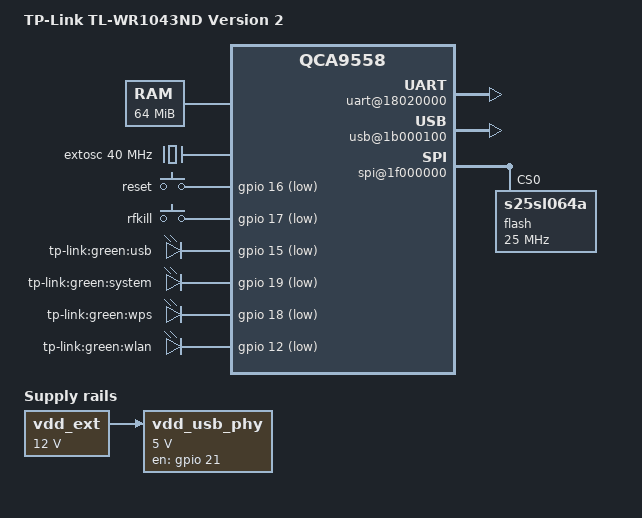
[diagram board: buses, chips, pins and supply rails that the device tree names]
/dts-v1/;

#include <dt-bindings/gpio/gpio.h>
#include <dt-bindings/input/input.h>

#include "qca9558.dtsi"

/ {
	compatible = "tplink,tl-wr1043nd-v2", "qca,qca9558";
	model = "TP-Link TL-WR1043ND Version 2";

	memory@0 {
		device_type = "memory";
		reg = <0x0 0x4000000>;
	};

	extosc: oscillator {
		compatible = "fixed-clock";
		#clock-cells = <0>;
		clock-frequency = <40000000>;
	};

	ahb {
		apb {
			uart@18020000 {
				status = "okay";
				clocks = <&extosc>;
			};

			pll-controller@18050000 {
				clocks = <&extosc>;
			};
		};

		usb@1b000100 {
			status = "okay";
		};

		spi@1f000000 {
			status = "okay";
			num-cs = <1>;

			flash@0 {
				#address-cells = <1>;
				#size-cells = <1>;

				compatible = "s25sl064a";
				reg = <0>;
				spi-max-frequency = <25000000>;
			};
		};
	};

	usb-phy-0 {
		status = "okay";
		phy-supply = <&vdd_usb_phy>;
	};

	gpio-keys {
		compatible = "gpio-keys";
		#address-cells = <1>;
		#size-cells = <0>;

		button@0 {
			label = "reset";
			linux,code = <KEY_RESTART>;
			gpios = <&gpio 16 GPIO_ACTIVE_LOW>;
			debounce-interval = <60>;
		};

		button@1 {
			label = "rfkill";
			linux,code = <KEY_RFKILL>;
			gpios = <&gpio 17 GPIO_ACTIVE_LOW>;
			debounce-interval = <60>;
		};
	};

	leds {
		compatible = "gpio-leds";
		led@0 {
			label = "tp-link:green:usb";
			gpios = <&gpio 15 GPIO_ACTIVE_LOW>;
		};

		led@1 {
			label = "tp-link:green:system";
			gpios = <&gpio 19 GPIO_ACTIVE_LOW>;
			linux,default-trigger = "heartbeat";
		};

		led@2 {
			label = "tp-link:green:wps";
			gpios = <&gpio 18 GPIO_ACTIVE_LOW>;
		};

		led@3 {
			label = "tp-link:green:wlan";
			gpios = <&gpio 12 GPIO_ACTIVE_LOW>;
		};
	};

	regulators {
		compatible = "simple-bus";
		#address-cells = <1>;
		#size-cells = <0>;

		vdd_ext: regulator@0 {
			compatible = "regulator-fixed";
			reg = <0>;
			regulator-name = "+12V EXT";
			regulator-min-microvolt = <12000000>;
			regulator-max-microvolt = <12000000>;
			regulator-always-on;
			regulator-boot-on;
		};

		vdd_usb_phy: regulator@10 {
			compatible = "regulator-fixed";
			reg = <10>;
			regulator-name = "+5V USB";
			regulator-min-microvolt = <5000000>;
			regulator-max-microvolt = <5000000>;
			gpio = <&gpio 21 GPIO_ACTIVE_HIGH>;
			enable-active-high;
			vin-supply = <&vdd_ext>;
		};
	};
};
